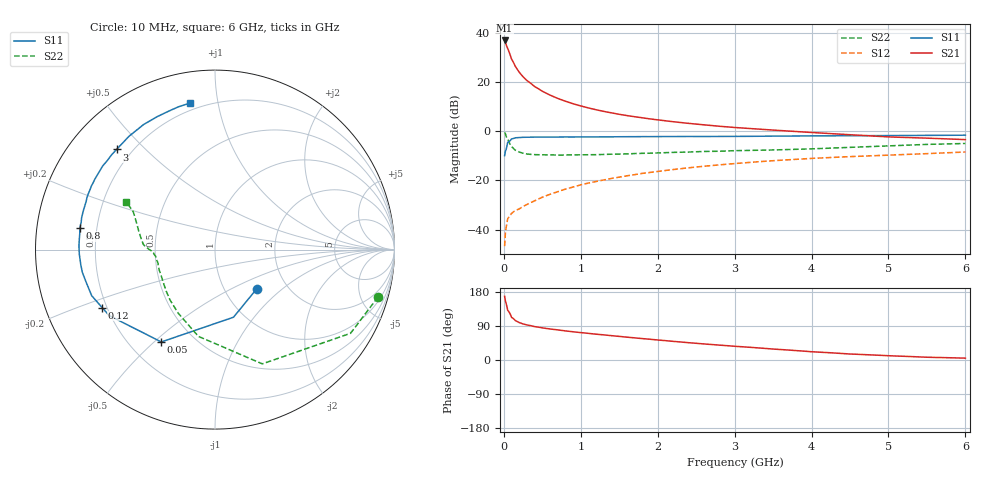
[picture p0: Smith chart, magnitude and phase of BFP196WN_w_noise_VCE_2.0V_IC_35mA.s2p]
! (c) 2017  Infineon Technologies AG, Munich
! Infineon Technologies  Discrete & RF Semiconductors
! BFP196WN
! VCE =  2.0 V,  IC =  35 mA
! Common Emitter S-Parameters:  Jan 2017
# GHz  S  MA  R  50
!  f  S11  S21  S12  S22
! GHz  MAG  ANG  MAG  ANG  MAG  ANG  MAG  ANG
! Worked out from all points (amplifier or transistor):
!   77 points, 10 MHz to 6 GHz, reference 50 ohm
!   highest |S21| = 36.9 dB at 10 MHz (marker M1)
!   |S21| within 3 dB of that: start of sweep to 46.36 MHz
!   unconditionally stable (mu >= 1): 669.4 MHz to 2.862 GHz
!   at 130 MHz: K = 0.47, MSG = 30.2 dB, |S12| = -32.7 dB
!   at 2.2 GHz: K = 1.02, MAG = 8.8 dB, |S12| = -15.6 dB
!   at 6 GHz: K = 0.93, MSG = 2.5 dB, |S12| = -8.5 dB
!   lowest NFmin = 1.11 dB at 450 MHz
!   S11 on the Smith chart (normalised r, x): 10 MHz: 1.41, -0.69; 50 MHz: 0.33, -0.53; 120 MHz: 0.18, -0.23; 800 MHz: 0.14, +0.08; 3 GHz: 0.14, +0.41; 6 GHz: 0.16, +0.83
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0.01  0.319 -43.1  69.67 168.2  0.0046 80.9  0.9461 -16.2
0.02  0.3906 -74.7  63.73 156.0  0.0084 69.1  0.8875 -31.7
0.05  0.5953 -120.2  47.87 131.3  0.0165 51.6  0.689 -67.5
0.1  0.695 -148.1  29.27 112.6  0.0213 44.9  0.4924 -100.8
0.12  0.707 -152.8  25.76 109.9  0.0225 44.6  0.4535 -107.6
0.15  0.7334 -159.5  20.65 104.0  0.0244 44.1  0.4098 -119.9
0.2  0.7409 -166.0  15.76 98.8  0.0263 47.3  0.3758 -132.0
0.25  0.7499 -170.3  12.73 95.1  0.0296 48.6  0.3562 -139.9
0.3  0.7525 -173.6  10.68 92.5  0.0323 52.0  0.3433 -146.3
0.4  0.7565 -178.2  8.072 88.1  0.0384 56.6  0.3334 -154.0
0.5  0.7582 178.4  6.472 84.8  0.0454 59.4  0.3311 -159.5
0.6  0.7582 175.6  5.406 81.9  0.0522 61.6  0.3294 -163.3
0.7  0.7587 173.2  4.631 79.5  0.0588 63.3  0.3267 -166.1
0.8  0.7623 170.8  4.058 76.8  0.0665 64.8  0.3274 -167.9
1.1  0.7644 164.7  2.963 70.3  0.0882 65.3  0.3317 -172.7
1.5  0.7699 157.9  2.198 62.3  0.1163 64.4  0.3422 -176.6
2.1  0.7762 148.0  1.625 51.1  0.1588 61.2  0.3654 180.0
3  0.7825 134.5  1.188 36.2  0.2195 54.3  0.4013 175.6
3.1  0.7835 133.0  1.159 34.9  0.2257 53.4  0.4039 174.8
4.1  0.8027 118.5  0.92 20.7  0.284 45.0  0.443 165.0
5.1  0.8145 107.7  0.755 10.5  0.3302 37.4  0.5089 154.7
6  0.8281 99.7  0.673 4.9  0.377 31.5  0.5616 152.1
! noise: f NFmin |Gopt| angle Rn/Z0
0.45  1.11  0.47  179  0.05
0.9  1.24  0.53  186  0.05
1.9  2.17  0.68  212  0.13
2.4  2.91  0.69  219  0.25
